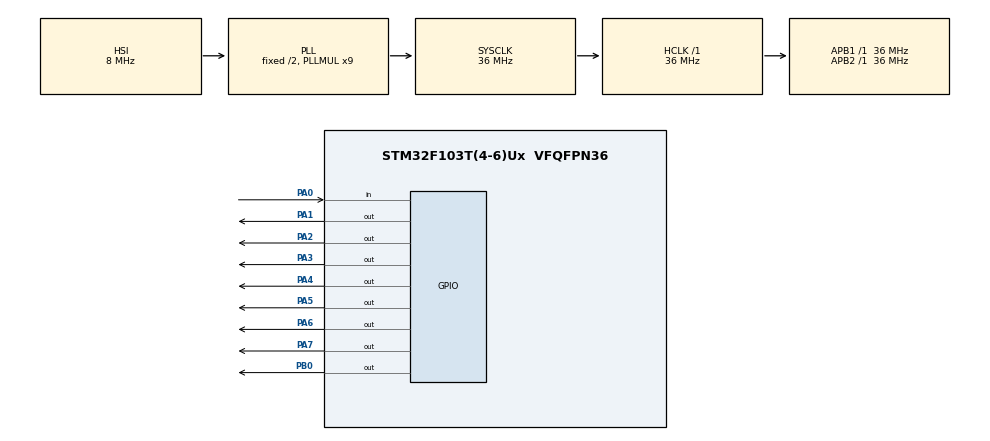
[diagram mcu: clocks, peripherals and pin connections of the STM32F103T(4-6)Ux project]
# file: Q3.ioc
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Mcu.Family=STM32F1
Mcu.Name=STM32F103T(4-6)Ux
Mcu.Package=VFQFPN36
NVIC.PriorityGroup=NVIC_PRIORITYGROUP_4
NVIC.TIM3_IRQn=true\:0\:0\:false\:false\:true\:true\:true\:true
PA0-WKUP.GPIO_PuPd=GPIO_PULLDOWN
PA0-WKUP.Signal=GPIO_Input
PA1.Signal=GPIO_Output
PA2.Signal=GPIO_Output
PA3.Signal=GPIO_Output
PA4.Signal=GPIO_Output
PA5.Signal=GPIO_Output
PA6.Signal=GPIO_Output
PA7.Signal=GPIO_Output
PB0.Signal=GPIO_Output
ProjectManager.HeapSize=0x200
ProjectManager.StackSize=0x400
ProjectManager.TargetToolchain=STM32CubeIDE
RCC.AHBFreq_Value=36000000
RCC.APB1Freq_Value=36000000
RCC.APB1TimFreq_Value=36000000
RCC.APB2Freq_Value=36000000
RCC.APB2TimFreq_Value=36000000
RCC.HCLKFreq_Value=36000000
RCC.PLLMUL=RCC_PLL_MUL9
RCC.SYSCLKFreq_VALUE=36000000
RCC.SYSCLKSource=RCC_SYSCLKSOURCE_PLLCLK
RCC.USBFreq_Value=36000000
TIM3.Period=499
TIM3.Prescaler=35999
VP_SYS_VS_ND.Mode=No_Debug
VP_TIM3_VS_ClockSourceINT.Mode=Internal
board=custom

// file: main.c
/* USER CODE BEGIN Header */
/**
  ******************************************************************************
  * @file           : main.c
  * @brief          : Main program body
  ******************************************************************************
  * @attention
  *
  * Copyright (c) 2026 STMicroelectronics.
  * All rights reserved.
  *
  * This software is licensed under terms that can be found in the LICENSE file
  * in the root directory of this software component.
  * If no LICENSE file comes with this software, it is provided AS-IS.
  *
  ******************************************************************************
  */
/* USER CODE END Header */
#include "main.h"
#include "lcd.h"
#include <stdio.h>

TIM_HandleTypeDef htim3;

/* USER CODE BEGIN PV */
Lcd_PortType port[] = {GPIOA, GPIOA, GPIOA, GPIOA};
Lcd_PinType pin[] = {GPIO_PIN_3, GPIO_PIN_4, GPIO_PIN_5, GPIO_PIN_6};
Lcd_PortType rsPort = GPIOA;
Lcd_PinType rsPin = GPIO_PIN_7;
Lcd_PortType ePort = GPIOB;
Lcd_PinType ePin = GPIO_PIN_0;
Lcd_HandleTypeDef lcd;

volatile uint8_t isRunning = 0;
volatile int8_t countdown = 15;
volatile int8_t last_countdown = -1;
volatile uint8_t timerTick = 0;
char lcdBuffer[20];
/* USER CODE END PV  timer*/

void SystemClock_Config(void);
static void MX_GPIO_Init(void);
static void MX_TIM3_Init(void);

int main(void)
{

  /* MCU Configuration--------------------------------------------------------*/

  /* Reset of all peripherals, Initializes the Flash interface and the Systick. */
  HAL_Init();

  /* Configure the system clock */
  SystemClock_Config();

  /* Initialize all configured peripherals */
  MX_GPIO_Init();
  MX_TIM3_Init();
  /* USER CODE BEGIN 2 */
  lcd = Lcd_create(port, pin, rsPort, rsPin, ePort, ePin, LCD_4_BIT_MODE);
  Lcd_init(&lcd);
  HAL_NVIC_SetPriority(TIM3_IRQn, 0, 0);
  HAL_NVIC_EnableIRQ(TIM3_IRQn);
  HAL_TIM_Base_Start_IT(&htim3);
  /* USER CODE END 2 */

  /* Infinite loop */
  /* USER CODE BEGIN WHILE */
  while (1)
  {
	  if (HAL_GPIO_ReadPin(GPIOA, GPIO_PIN_0) == GPIO_PIN_SET) {
	      if (isRunning == 0 && countdown == 15) {
	          isRunning = 1;
	          timerTick = 0;
	      }
	  } else {
	      isRunning = 0;
	      countdown = 15;
	      timerTick = 0;
	      HAL_GPIO_WritePin(GPIOA, GPIO_PIN_1, GPIO_PIN_RESET);
	      HAL_GPIO_WritePin(GPIOA, GPIO_PIN_2, GPIO_PIN_RESET);
	  }

	  if (countdown != last_countdown) {
	      sprintf(lcdBuffer, "Time: %02d   ", countdown);
	      Lcd_cursor(&lcd, 0, 0);
	      Lcd_string(&lcd, lcdBuffer);
	      last_countdown = countdown;
	  }
	  HAL_Delay(50);
    /* USER CODE END WHILE */

  }
}

void SystemClock_Config(void)
{
  RCC_OscInitTypeDef RCC_OscInitStruct = {0};
  RCC_ClkInitTypeDef RCC_ClkInitStruct = {0};

  /** Initializes the RCC Oscillators according to the specified parameters
  * in the RCC_OscInitTypeDef structure.
  */
  RCC_OscInitStruct.OscillatorType = RCC_OSCILLATORTYPE_HSI;
  RCC_OscInitStruct.HSIState = RCC_HSI_ON;
  RCC_OscInitStruct.HSICalibrationValue = RCC_HSICALIBRATION_DEFAULT;
  RCC_OscInitStruct.PLL.PLLState = RCC_PLL_ON;
  RCC_OscInitStruct.PLL.PLLSource = RCC_PLLSOURCE_HSI_DIV2;
  RCC_OscInitStruct.PLL.PLLMUL = RCC_PLL_MUL9;
  if (HAL_RCC_OscConfig(&RCC_OscInitStruct) != HAL_OK)
  {
    Error_Handler();
  }

  /** Initializes the CPU, AHB and APB buses clocks
  */
  RCC_ClkInitStruct.ClockType = RCC_CLOCKTYPE_HCLK|RCC_CLOCKTYPE_SYSCLK
                              |RCC_CLOCKTYPE_PCLK1|RCC_CLOCKTYPE_PCLK2;
  RCC_ClkInitStruct.SYSCLKSource = RCC_SYSCLKSOURCE_PLLCLK;
  RCC_ClkInitStruct.AHBCLKDivider = RCC_SYSCLK_DIV1;
  RCC_ClkInitStruct.APB1CLKDivider = RCC_HCLK_DIV1;
  RCC_ClkInitStruct.APB2CLKDivider = RCC_HCLK_DIV1;

  if (HAL_RCC_ClockConfig(&RCC_ClkInitStruct, FLASH_LATENCY_1) != HAL_OK)
  {
    Error_Handler();
  }
}

static void MX_TIM3_Init(void)
{

  TIM_ClockConfigTypeDef sClockSourceConfig = {0};
  TIM_MasterConfigTypeDef sMasterConfig = {0};

  htim3.Instance = TIM3;
  htim3.Init.Prescaler = 35999;
  htim3.Init.CounterMode = TIM_COUNTERMODE_UP;
  htim3.Init.Period = 499;
  htim3.Init.ClockDivision = TIM_CLOCKDIVISION_DIV1;
  htim3.Init.AutoReloadPreload = TIM_AUTORELOAD_PRELOAD_DISABLE;
  if (HAL_TIM_Base_Init(&htim3) != HAL_OK)
  {
    Error_Handler();
  }
  sClockSourceConfig.ClockSource = TIM_CLOCKSOURCE_INTERNAL;
  if (HAL_TIM_ConfigClockSource(&htim3, &sClockSourceConfig) != HAL_OK)
  {
    Error_Handler();
  }
  sMasterConfig.MasterOutputTrigger = TIM_TRGO_RESET;
  sMasterConfig.MasterSlaveMode = TIM_MASTERSLAVEMODE_DISABLE;
  if (HAL_TIMEx_MasterConfigSynchronization(&htim3, &sMasterConfig) != HAL_OK)
  {
    Error_Handler();
  }

}

static void MX_GPIO_Init(void)
{
  GPIO_InitTypeDef GPIO_InitStruct = {0};

  /* GPIO Ports Clock Enable */
  __HAL_RCC_GPIOA_CLK_ENABLE();
  __HAL_RCC_GPIOB_CLK_ENABLE();

  /*Configure GPIO pin Output Level */
  HAL_GPIO_WritePin(GPIOA, GPIO_PIN_1|GPIO_PIN_2|GPIO_PIN_3|GPIO_PIN_4
                          |GPIO_PIN_5|GPIO_PIN_6|GPIO_PIN_7, GPIO_PIN_RESET);

  /*Configure GPIO pin Output Level */
  HAL_GPIO_WritePin(GPIOB, GPIO_PIN_0, GPIO_PIN_RESET);

  /*Configure GPIO pin : PA0 */
  GPIO_InitStruct.Pin = GPIO_PIN_0;
  GPIO_InitStruct.Mode = GPIO_MODE_INPUT;
  GPIO_InitStruct.Pull = GPIO_PULLDOWN;
  HAL_GPIO_Init(GPIOA, &GPIO_InitStruct);

  /*Configure GPIO pins : PA1 PA2 PA3 PA4
                           PA5 PA6 PA7 */
  GPIO_InitStruct.Pin = GPIO_PIN_1|GPIO_PIN_2|GPIO_PIN_3|GPIO_PIN_4
                          |GPIO_PIN_5|GPIO_PIN_6|GPIO_PIN_7;
  GPIO_InitStruct.Mode = GPIO_MODE_OUTPUT_PP;
  GPIO_InitStruct.Pull = GPIO_NOPULL;
  GPIO_InitStruct.Speed = GPIO_SPEED_FREQ_LOW;
  HAL_GPIO_Init(GPIOA, &GPIO_InitStruct);

  /*Configure GPIO pin : PB0 */
  GPIO_InitStruct.Pin = GPIO_PIN_0;
  GPIO_InitStruct.Mode = GPIO_MODE_OUTPUT_PP;
  GPIO_InitStruct.Pull = GPIO_NOPULL;
  GPIO_InitStruct.Speed = GPIO_SPEED_FREQ_LOW;
  HAL_GPIO_Init(GPIOB, &GPIO_InitStruct);

}

/* USER CODE BEGIN 4 */
void HAL_TIM_PeriodElapsedCallback(TIM_HandleTypeDef *htim) {
    if (htim->Instance == TIM3) {
        if (isRunning == 1) {
            if (countdown > 0) {
                timerTick++;
                if (timerTick % 2 == 1) {
                    HAL_GPIO_WritePin(GPIOA, GPIO_PIN_1, GPIO_PIN_SET);
                    HAL_GPIO_WritePin(GPIOA, GPIO_PIN_2, GPIO_PIN_SET);
                } else {
                    HAL_GPIO_WritePin(GPIOA, GPIO_PIN_1, GPIO_PIN_RESET);
                    HAL_GPIO_WritePin(GPIOA, GPIO_PIN_2, GPIO_PIN_RESET);
                    countdown--;
                }
            } else {
                HAL_GPIO_WritePin(GPIOA, GPIO_PIN_1, GPIO_PIN_SET);
                HAL_GPIO_WritePin(GPIOA, GPIO_PIN_2, GPIO_PIN_SET);
            }
        }
    }
}
/* USER CODE END 4 */

void Error_Handler(void)
{
  __disable_irq();
  while (1)
  {
  }
}
